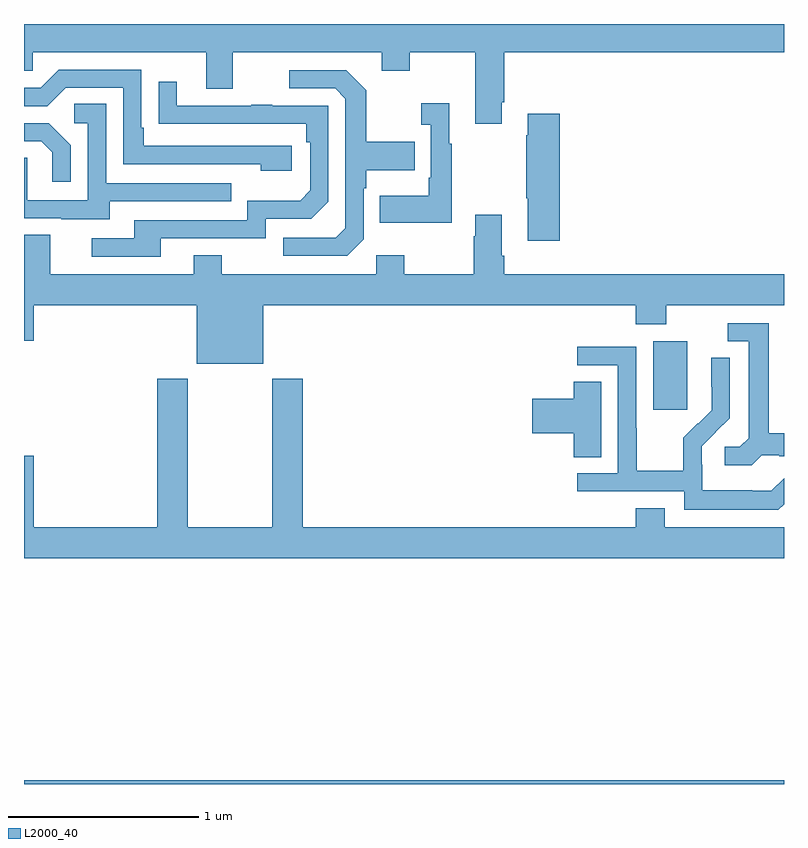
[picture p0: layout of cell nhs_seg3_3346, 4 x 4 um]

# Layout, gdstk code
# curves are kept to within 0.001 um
import gdstk
lib = gdstk.Library(unit=1e-6, precision=1e-09)
def R(c, l, rs):  # rectangles x0, y0, x1, y1
    for r in rs: c.add(gdstk.rectangle(r[:2], r[2:], *l))
def P(c, l, *ps):  # polygons
    for p in ps: c.add(gdstk.Polygon(p, *l))
L2000_40 = (2000, 40)

nhs_seg3_3346 = lib.new_cell('nhs_seg3_3346')
R(nhs_seg3_3346, L2000_40, [(285,694.4,289,694.42), (288.311,696.369,288.49,696.73)])
P(nhs_seg3_3346, L2000_40, [(287.515,697.987),(287.528,697.987),(287.528,698.252),(289,698.252),(289,698.4),(285,698.4),(285,698.154),(285.045,698.154),(285.045,698.252),(285.959,698.252),(285.959,698.058),(286.099,698.058),(286.099,698.252),(286.883,698.252),(286.883,698.153),(287.031,698.153),(287.031,698.252),(287.375,698.252),(287.375,697.875),(287.515,697.875)],
  [(286.408,697.758),(285.631,697.758),(285.631,697.855),(285.618,697.855),(285.618,698.16),(285.183,698.16),(285.087,698.064),(285,698.064),(285,697.968),(285.123,697.968),(285.219,698.064),(285.522,698.064),(285.522,697.662),(286.247,697.662),(286.247,697.628),(286.408,697.628)],
  [(286.788,697.266),(286.788,697.535),(286.801,697.535),(286.801,697.631),(287.057,697.631),(287.057,697.779),(286.801,697.779),(286.801,698.051),(286.695,698.157),(286.395,698.157),(286.395,698.061),(286.638,698.061),(286.692,698.007),(286.692,697.326),(286.641,697.275),(286.365,697.275),(286.365,697.179),(286.701,697.179)],
  [(285.721,697.272),(286.272,697.272),(286.272,697.374),(286.512,697.374),(286.602,697.464),(286.602,697.971),(286.307,697.971),(286.307,697.976),(286.195,697.976),(286.195,697.971),(285.805,697.971),(285.805,698.095),(285.709,698.095),(285.709,697.876),(286.486,697.875),(286.486,697.778),(286.506,697.778),(286.506,697.524),(286.453,697.471),(286.176,697.471),(286.176,697.368),(285.581,697.368),(285.581,697.272),(285.357,697.272),(285.357,697.176),(285.721,697.176)],
  [(287.251,697.771),(287.239,697.771),(287.239,697.984),(287.091,697.984),(287.091,697.871),(287.142,697.871),(287.142,697.591),(287.13,697.591),(287.13,697.495),(286.873,697.495),(286.873,697.355),(287.251,697.355)],
  [(285.451,697.467),(286.091,697.467),(286.091,697.563),(285.432,697.563),(285.432,697.979),(285.264,697.979),(285.264,697.878),(285.336,697.878),(285.336,697.473),(285.018,697.473),(285.018,697.697),(285,697.697),(285,697.377),(285.197,697.377),(285.197,697.373),(285.451,697.373)],
  [(287.819,697.927),(287.651,697.927),(287.651,697.814),(287.644,697.814),(287.644,697.483),(287.651,697.483),(287.651,697.26),(287.819,697.26)],
  [(285.246,697.762),(285.13,697.878),(285,697.878),(285,697.782),(285.092,697.782),(285.149,697.725),(285.149,697.569),(285.246,697.569)],
  [(286.258,696.92),(288.221,696.92),(288.221,696.821),(288.381,696.821),(288.381,696.92),(289,696.92),(289,697.084),(287.528,697.084),(287.528,697.18),(287.515,697.18),(287.515,697.396),(287.375,697.396),(287.375,697.283),(287.368,697.283),(287.368,697.084),(287.001,697.084),(287.001,697.183),(286.854,697.183),(286.854,697.084),(286.041,697.084),(286.041,697.183),(285.893,697.183),(285.893,697.084),(285.139,697.084),(285.139,697.292),(285,697.292),(285,696.732),(285.052,696.732),(285.052,696.92),(285.908,696.92),(285.908,696.611),(286.258,696.611)],
  [(288.882,696.129),(288.976,696.129),(288.976,696.126),(289,696.126),(289,696.245),(288.919,696.245),(288.919,696.825),(288.705,696.825),(288.705,696.729),(288.815,696.729),(288.815,696.221),(288.768,696.174),(288.687,696.174),(288.687,696.077),(288.83,696.077)],
  [(289,695.872),(289,696.01),(288.933,695.943),(288.833,695.943),(288.833,695.947),(288.57,695.947),(288.57,696.081),(288.568,696.081),(288.568,696.178),(288.714,696.326),(288.714,696.644),(288.618,696.644),(288.618,696.49),(288.62,696.49),(288.62,696.368),(288.549,696.297),(288.546,696.3),(288.469,696.223),(288.469,696.049),(288.225,696.049),(288.225,696.272),(288.222,696.272),(288.222,696.702),(287.913,696.702),(287.913,696.603),(288.126,696.603),(288.126,696.036),(287.913,696.036),(287.913,695.94),(288.474,695.94),(288.474,695.843),(288.971,695.843)],
  [(289,695.752),(288.373,695.752),(288.373,695.851),(288.221,695.851),(288.221,695.752),(286.466,695.752),(286.466,696.532),(286.306,696.532),(286.306,695.752),(285.861,695.752),(285.861,696.532),(285.701,696.532),(285.701,695.752),(285.052,695.752),(285.052,696.127),(285,696.127),(285,695.588),(289,695.588)],
  [(288.037,696.518),(287.894,696.518),(287.894,696.428),(287.676,696.428),(287.676,696.245),(287.894,696.245),(287.894,696.121),(288.037,696.121)])

lib.write_gds('nhs_seg3_3346.gds')
